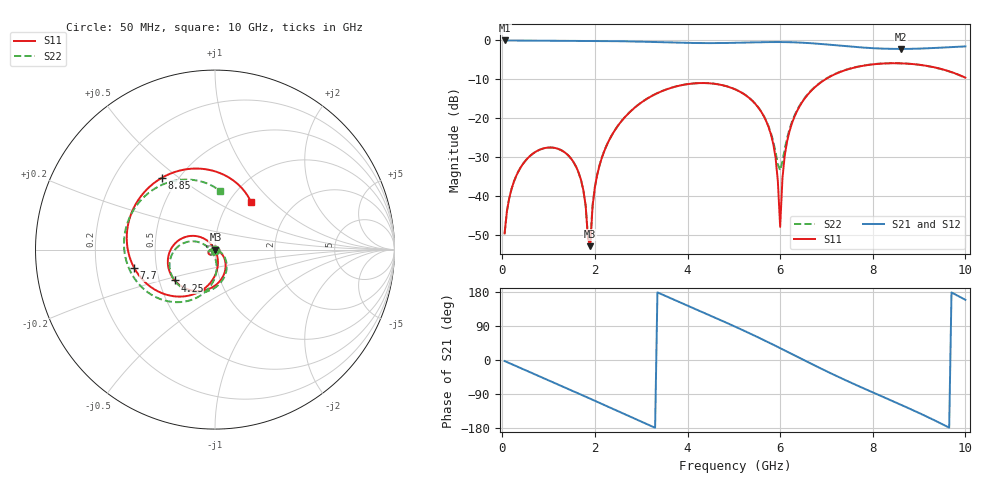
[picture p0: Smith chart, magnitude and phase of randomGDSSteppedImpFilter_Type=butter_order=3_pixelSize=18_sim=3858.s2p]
! freq	dB(S11)	phase(S11)	dB(S12)	phase(S12)
!  dB(S21)	phase(S21)	dB(S22)	phase(S22)
!S-par simulation data
#  GHz  S  DB  R 50
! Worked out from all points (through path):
!   200 points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, 50 MHz to 10 GHz, reference 50 ohm
!   highest |S21| = 0.00 dB at 50 MHz (marker M1); lowest = -2.2 dB at 8.6 GHz (marker M2)
!   group delay of S21, straight-line fit = 156 ps
!   lowest |S11| = -52.9 dB at 1.9 GHz (marker M3), VSWR 1.00, Z = 50.2 + j0.0133 ohm
!   |S11| at or under -10 dB: start of sweep to 6.978 GHz
!   |S22| runs from -51.4 to -5.8 dB; largest |S21 - S12| = 0
!   S11 on the Smith chart (normalised r, x): 50 MHz: 1.00, -0.01; 4.25 GHz: 0.60, -0.22; 7.7 GHz: 0.37, -0.10; 8.85 GHz: 0.41, +0.43; 10 GHz: 1.26, +0.75
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0.05  -49.63 -89.1  -0.00 -2.7  -0.00 -2.7  -49.66 -89.5
0.25  -36.34 -102.2  -0.02 -13.5  -0.02 -13.5  -36.34 -102.1
0.75  -28.43 -131.2  -0.06 -40.3  -0.06 -40.3  -28.44 -130.7
1.4  -29.28 -167.2  -0.09 -75.2  -0.09 -75.2  -29.30 -166.6
1.75  -38.47 171.9  -0.11 -94.1  -0.11 -94.1  -38.54 170.5
1.9  -52.91 3.4  -0.12 -102.2  -0.12 -102.2  -51.43 18.4
2  -37.75 -17.1  -0.13 -107.7  -0.13 -107.7  -37.60 -11.4
2.25  -27.09 -32.5  -0.15 -121.3  -0.15 -121.3  -27.05 -28.8
3.4  -13.28 -96.6  -0.45 175.7  -0.45 175.7  -13.26 -92.0
4.25  -10.97 -142.5  -0.67 130.1  -0.67 130.1  -10.96 -136.2
5.05  -12.69 173.7  -0.60 86.8  -0.60 86.8  -12.67 -176.8
5.8  -24.13 130.0  -0.42 43.4  -0.42 43.4  -23.79 155.0
5.9  -30.04 124.3  -0.41 37.4  -0.41 37.4  -28.64 165.0
6  -47.94 -166.8  -0.41 31.3  -0.41 31.3  -33.41 -141.4
6.05  -35.43 -67.9  -0.42 28.2  -0.42 28.2  -31.12 -108.3
6.15  -25.96 -72.9  -0.44 22.1  -0.44 22.1  -25.08 -86.6
6.7  -12.60 -107.2  -0.74 -11.6  -0.74 -11.6  -12.49 -102.2
7.7  -6.72 -167.2  -1.75 -69.3  -1.75 -69.3  -6.67 -155.0
8.35  -5.88 155.7  -2.15 -104.2  -2.15 -104.2  -5.85 172.4
8.6  -5.89 141.3  -2.18 -117.7  -2.18 -117.7  -5.87 159.9
8.85  -6.06 126.5  -2.15 -131.4  -2.15 -131.4  -6.06 147.3
10  -9.57 52.8  -1.53 158.8  -1.53 158.8  -9.63 85.5
